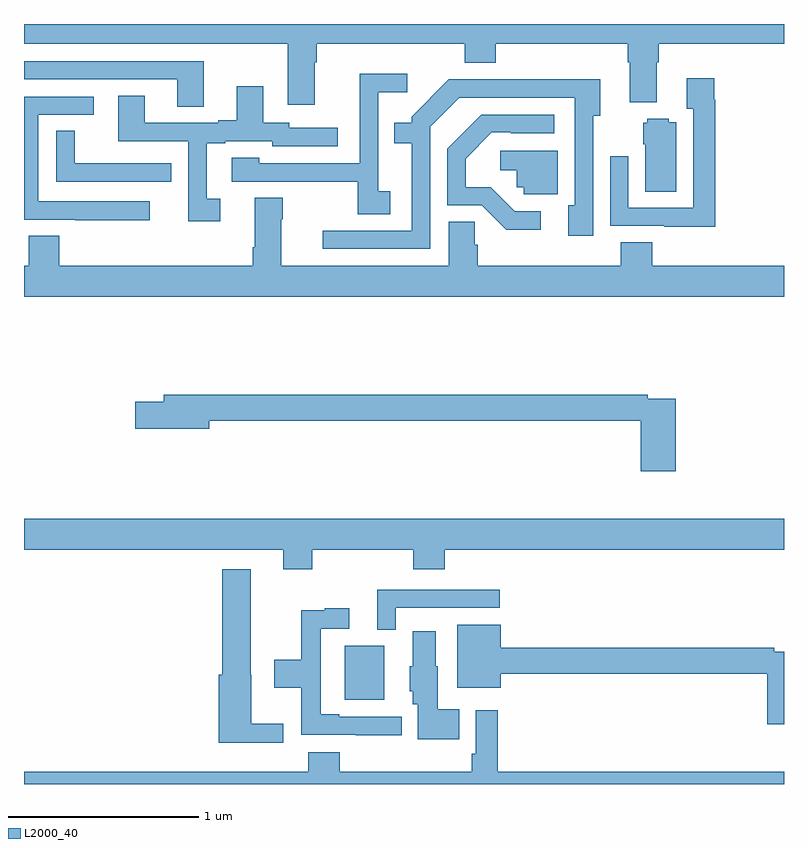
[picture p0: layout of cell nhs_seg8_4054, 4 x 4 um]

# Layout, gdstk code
import gdstk
lib = gdstk.Library(unit=1e-6, precision=1e-09)
def R(c, l, rs):  # rectangles x0, y0, x1, y1
    for r in rs: c.add(gdstk.rectangle(r[:2], r[2:], *l))
def P(c, l, *ps):  # polygons
    for p in ps: c.add(gdstk.Polygon(p, *l))
L2000_40 = (2000, 40)

nhs_seg8_4054 = lib.new_cell('nhs_seg8_4054')
R(nhs_seg8_4054, L2000_40, [(360.689,1150.343,360.895,1150.627)])
P(nhs_seg8_4054, L2000_40, [(360.529,1153.7),(360.542,1153.7),(360.542,1153.796),(361.319,1153.796),(361.319,1153.697),(361.484,1153.697),(361.484,1153.796),(362.177,1153.796),(362.177,1153.7),(362.189,1153.7),(362.189,1153.487),(362.329,1153.487),(362.329,1153.7),(362.342,1153.7),(362.342,1153.796),(363,1153.796),(363,1153.9),(359,1153.9),(359,1153.796),(360.389,1153.796),(360.389,1153.476),(360.529,1153.476)],
  [(359.947,1153.704),(359,1153.704),(359,1153.608),(359.807,1153.608),(359.807,1153.465),(359.947,1153.465)],
  [(360.928,1153.02),(360.864,1153.02),(360.864,1153.541),(361.018,1153.541),(361.018,1153.639),(360.766,1153.639),(360.766,1153.4),(360.768,1153.4),(360.768,1153.167),(360.237,1153.167),(360.237,1153.195),(360.093,1153.195),(360.093,1153.071),(360.451,1153.071),(360.451,1153.069),(360.756,1153.069),(360.756,1152.898),(360.928,1152.898)],
  [(362.639,1153.502),(362.632,1153.502),(362.632,1153.615),(362.489,1153.615),(362.489,1153.454),(362.523,1153.454),(362.523,1152.933),(362.181,1152.933),(362.181,1153.204),(362.085,1153.204),(362.085,1152.837),(362.369,1152.837),(362.369,1152.833),(362.639,1152.833)],
  [(361.137,1153.359),(361.29,1153.512),(361.899,1153.512),(361.899,1152.946),(361.865,1152.946),(361.865,1152.786),(361.995,1152.786),(361.995,1153.418),(362.032,1153.418),(362.032,1153.61),(361.567,1153.61),(361.567,1153.608),(361.236,1153.608),(361.041,1153.413),(361.041,1153.381),(360.949,1153.381),(360.949,1153.272),(361.04,1153.272),(361.04,1152.813),(360.573,1152.813),(360.573,1152.717),(361.137,1152.717)],
  [(360.034,1152.981),(359.962,1152.981),(359.962,1153.272),(360.058,1153.272),(360.058,1153.284),(360.306,1153.284),(360.306,1153.257),(360.652,1153.257),(360.652,1153.353),(360.396,1153.353),(360.396,1153.38),(360.259,1153.38),(360.259,1153.573),(360.119,1153.573),(360.119,1153.393),(360.023,1153.393),(360.023,1153.38),(359.635,1153.38),(359.635,1153.523),(359.495,1153.523),(359.495,1153.284),(359.865,1153.284),(359.865,1152.861),(360.034,1152.861)],
  [(359.662,1152.966),(359.076,1152.966),(359.076,1153.422),(359.368,1153.422),(359.368,1153.518),(359,1153.518),(359,1152.87),(359.269,1152.87),(359.269,1152.868),(359.662,1152.868)],
  [(361.72,1152.915),(361.584,1152.915),(361.457,1153.042),(361.324,1153.042),(361.324,1153.192),(361.461,1153.329),(361.561,1153.329),(361.561,1153.326),(361.792,1153.326),(361.792,1153.422),(361.406,1153.422),(361.227,1153.243),(361.227,1152.945),(361.41,1152.945),(361.538,1152.818),(361.72,1152.818)],
  [(362.434,1153.384),(362.394,1153.384),(362.394,1153.402),(362.28,1153.402),(362.28,1153.38),(362.258,1153.38),(362.258,1153.266),(362.27,1153.266),(362.27,1153.018),(362.434,1153.018)],
  [(359.776,1153.166),(359.663,1153.166),(359.663,1153.167),(359.268,1153.167),(359.268,1153.337),(359.169,1153.337),(359.169,1153.071),(359.776,1153.071)],
  [(361.81,1153.233),(361.506,1153.233),(361.506,1153.13),(361.593,1153.13),(361.593,1153.041),(361.629,1153.041),(361.629,1153.005),(361.81,1153.005)],
  [(363,1152.628),(362.306,1152.628),(362.306,1152.752),(362.141,1152.752),(362.141,1152.628),(361.388,1152.628),(361.388,1152.738),(361.373,1152.738),(361.373,1152.86),(361.235,1152.86),(361.235,1152.628),(360.355,1152.628),(360.355,1152.872),(360.363,1152.872),(360.363,1152.985),(360.215,1152.985),(360.215,1152.724),(360.203,1152.724),(360.203,1152.628),(359.186,1152.628),(359.186,1152.785),(359.026,1152.785),(359.026,1152.628),(359,1152.628),(359,1152.464),(363,1152.464)],
  [(362.429,1151.928),(362.282,1151.928),(362.282,1151.948),(359.735,1151.948),(359.735,1151.912),(359.586,1151.912),(359.586,1151.77),(359.974,1151.77),(359.974,1151.812),(362.246,1151.812),(362.246,1151.547),(362.429,1151.547)],
  [(360.518,1151.132),(361.049,1151.132),(361.049,1151.03),(361.214,1151.03),(361.214,1151.132),(363,1151.132),(363,1151.296),(359,1151.296),(359,1151.132),(360.365,1151.132),(360.365,1151.03),(360.518,1151.03)],
  [(360.364,1150.217),(360.196,1150.217),(360.196,1150.476),(360.193,1150.476),(360.193,1151.029),(360.044,1151.029),(360.044,1150.476),(360.026,1150.476),(360.026,1150.118),(360.364,1150.118)],
  [(360.957,1150.827),(361.504,1150.827),(361.504,1150.923),(360.86,1150.923),(360.86,1150.712),(360.957,1150.712)],
  [(360.988,1150.254),(360.658,1150.254),(360.658,1150.267),(360.561,1150.267),(360.561,1150.716),(360.712,1150.716),(360.712,1150.825),(360.584,1150.825),(360.584,1150.814),(360.46,1150.814),(360.46,1150.554),(360.318,1150.554),(360.318,1150.406),(360.46,1150.406),(360.46,1150.158),(360.745,1150.158),(360.745,1150.157),(360.988,1150.157)],
  [(363,1150.596),(362.948,1150.596),(362.948,1150.616),(361.51,1150.616),(361.51,1150.738),(361.28,1150.738),(361.28,1150.406),(361.51,1150.406),(361.51,1150.48),(362.912,1150.48),(362.912,1150.215),(363,1150.215)],
  [(361.292,1150.294),(361.177,1150.294),(361.177,1150.521),(361.168,1150.521),(361.168,1150.705),(361.046,1150.705),(361.046,1150.521),(361.031,1150.521),(361.031,1150.389),(361.046,1150.389),(361.046,1150.32),(361.073,1150.32),(361.073,1150.136),(361.292,1150.136)],
  [(363,1149.964),(361.493,1149.964),(361.493,1150.288),(361.377,1150.288),(361.377,1150.06),(361.357,1150.06),(361.357,1149.964),(360.662,1149.964),(360.662,1150.066),(360.497,1150.066),(360.497,1149.964),(359,1149.964),(359,1149.9),(363,1149.9)])

lib.write_gds('nhs_seg8_4054.gds')
